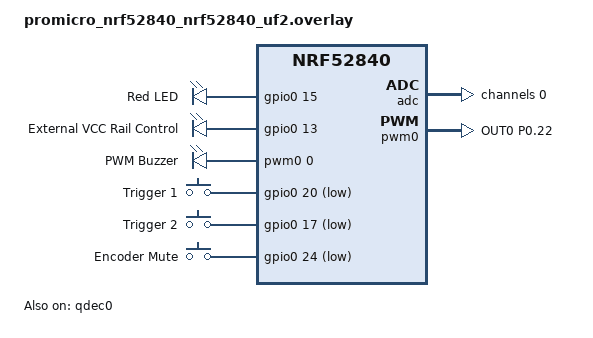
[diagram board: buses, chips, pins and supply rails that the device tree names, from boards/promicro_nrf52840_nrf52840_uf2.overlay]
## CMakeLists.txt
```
# SPDX-License-Identifier: Apache-2.0

cmake_minimum_required(VERSION 3.20.0)
find_package(Zephyr REQUIRED HINTS $ENV{ZEPHYR_BASE})
project(peripheral_hids)

FILE(GLOB app_sources src/*.cpp)
target_sources(app PRIVATE
  ${app_sources}
  )
```

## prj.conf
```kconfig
# Increased stack due to settings API usage
CONFIG_SYSTEM_WORKQUEUE_STACK_SIZE=2048

CONFIG_BT=y
CONFIG_LOG=y

CONFIG_BT_DEVICE_APPEARANCE=961
CONFIG_BT_DEVICE_NAME="Cam Remote Pro"

CONFIG_BT_PERIPHERAL=y
CONFIG_BT_DIS=y
CONFIG_BT_DIS_PNP=y
CONFIG_BT_DIS_PNP_VID_SRC=2
CONFIG_BT_DIS_PNP_VID=0x05AC
CONFIG_BT_DIS_PNP_PID=0x0220
CONFIG_BT_DIS_PNP_VER=0x0100
CONFIG_BT_BAS=y

# Enable SMP for HID security (Just Works pairing)
CONFIG_BT_SMP=y
CONFIG_BT_SETTINGS=y
CONFIG_SETTINGS=y
CONFIG_BT_MAX_PAIRED=5
CONFIG_BT_KEYS_OVERWRITE_OLDEST=y
CONFIG_FLASH=y
CONFIG_FLASH_MAP=y
CONFIG_NVS=y

# BT_SETTINGS requires a flash backend
CONFIG_SETTINGS_NVS=y

CONFIG_GPIO=y
CONFIG_PWM=y
CONFIG_ADC=y


# Modern C++23 Support
CONFIG_CPP=y
CONFIG_STD_CPP23=y
CONFIG_EXTERNAL_LIBCPP=y
CONFIG_CBPRINTF_FP_SUPPORT=y

# Just Works pairing only provides BT_SECURITY_L2 (encryption without MITM).
# Disable authenticated permissions so HID attributes only require encryption.
# Windows requires authenticated (MITM) security for BLE HID devices.
# Uses passkey display for pairing (shown on serial console).
CONFIG_SAMPLE_BT_USE_AUTHENTICATION=y

# Rotary Encoder Support via Hardware QDEC
CONFIG_SENSOR=y

# USB CDC ACM for Debugging (Modern Stack)
CONFIG_USB_DEVICE_STACK=n
CONFIG_USB_DEVICE_STACK_NEXT=y
CONFIG_USBD_CDC_ACM_CLASS=y
CONFIG_SERIAL=y
CONFIG_CONSOLE=y
CONFIG_UART_CONSOLE=y
CONFIG_LOG_BACKEND_UART=y
CONFIG_UART_LINE_CTRL=y
```

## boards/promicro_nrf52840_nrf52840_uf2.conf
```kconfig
# Rotary Encoder Support via Hardware QDEC
CONFIG_SENSOR=y
CONFIG_QDEC_NRFX=y
```

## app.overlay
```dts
/*
 * Global overlay.
 */

&zephyr_udc0 {
	cdc_acm_uart0 {
		compatible = "zephyr,cdc-acm-uart";
	};
};
```

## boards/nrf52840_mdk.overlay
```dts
/*
 * Overlay for nRF52840 MDK USB Dongle
 */

#include <zephyr/dt-bindings/adc/adc.h>
#include <zephyr/dt-bindings/adc/nrf-saadc.h>

/ {
	aliases {
		sw0 = &button0;
		buzzer = &pwm_buzzer0;
		qdec0 = &qdec0;
	};

	pwm_buzzers {
		compatible = "pwm-leds";
		pwm_buzzer0: pwm_buzzer_0 {
			pwms = <&pwm1 0 PWM_HZ(4000) PWM_POLARITY_NORMAL>;
			label = "PWM Buzzer";
		};
	};

	buttons {
		compatible = "gpio-keys";
		button0: button_0 {
			gpios = <&gpio0 5 (GPIO_PULL_UP | GPIO_ACTIVE_LOW)>;
			label = "P5 Trigger";
			zephyr,code = <INPUT_KEY_0>;
		};
		button1: button_1 {
			gpios = <&gpio0 4 (GPIO_PULL_UP | GPIO_ACTIVE_LOW)>;
			label = "P4 Trigger";
			zephyr,code = <INPUT_KEY_1>;
		};
		button2: button_2 {
			gpios = <&gpio0 7 (GPIO_PULL_UP | GPIO_ACTIVE_LOW)>;
			label = "P7 Encoder Mute";
			zephyr,code = <INPUT_KEY_2>;
		};
	};
};

&adc {
	status = "okay";
	#address-cells = <1>;
	#size-cells = <0>;

	channel@0 {
		reg = <0>;
		zephyr,gain = "ADC_GAIN_1_6";
		zephyr,reference = "ADC_REF_INTERNAL";
		zephyr,acquisition-time = <ADC_ACQ_TIME(ADC_ACQ_TIME_MICROSECONDS, 40)>;
		zephyr,input-positive = <NRF_SAADC_VDD>;
		zephyr,resolution = <10>;
	};
};

&qdec0 {
	status = "okay";
	pinctrl-0 = <&qdec_default>;
	pinctrl-1 = <&qdec_sleep>;
	pinctrl-names = "default", "sleep";
	steps = <24>;
	led-pre = <0>;
};

&uart0 {
	pinctrl-0 = <&uart0_default_noflow>;
	pinctrl-1 = <&uart0_sleep_noflow>;
};

&pwm1 {
	status = "okay";
	pinctrl-0 = <&pwm1_default>;
	pinctrl-1 = <&pwm1_sleep>;
	pinctrl-names = "default", "sleep";
};

&pinctrl {
	uart0_default_noflow: uart0_default_noflow {
		group1 {
			psels = <NRF_PSEL(UART_TX, 0, 20)>,
				<NRF_PSEL(UART_RX, 0, 19)>;
		};
	};

	uart0_sleep_noflow: uart0_sleep_noflow {
		group1 {
			psels = <NRF_PSEL(UART_TX, 0, 20)>,
				<NRF_PSEL(UART_RX, 0, 19)>;
			low-power-enable;
		};
	};

	pwm1_default: pwm1_default {
		group1 {
			psels = <NRF_PSEL(PWM_OUT0, 0, 2)>;
			nordic,drive-mode = <NRF_DRIVE_H0H1>;
		};
	};

	pwm1_sleep: pwm1_sleep {
		group1 {
			psels = <NRF_PSEL(PWM_OUT0, 0, 2)>;
			low-power-enable;
		};
	};

	qdec_default: qdec_default {
		group1 {
			psels = <NRF_PSEL(QDEC_A, 0, 3)>,
				<NRF_PSEL(QDEC_B, 0, 6)>;
			bias-pull-up;
		};
	};

	qdec_sleep: qdec_sleep {
		group1 {
			psels = <NRF_PSEL(QDEC_A, 0, 3)>,
				<NRF_PSEL(QDEC_B, 0, 6)>;
			bias-pull-up;
			low-power-enable;
		};
	};
};
```

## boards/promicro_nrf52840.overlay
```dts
/*
 * Overlay for Pro Micro nRF52840
 *
 * Pin Mapping:
 *   - D5 (Trigger P5):  P0.xx
 *   - D4 (Trigger P4):  P0.xx
 *   - D7 (Encoder Mute): P0.xx
 *   - D2, D3 (QDEC A/B): P0.xx / P0.xx
 *   - D6 (Buzzer):      P0.xx
 */

#include <zephyr/dt-bindings/adc/adc.h>
#include <zephyr/dt-bindings/adc/nrf-saadc.h>

/ {
	aliases {
		sw0 = &button0;
		buzzer = &pwm_buzzer0;
		qdec0 = &qdec0;
	};

	pwm_buzzers {
		compatible = "pwm-leds";
		pwm_buzzer0: pwm_buzzer_0 {
			pwms = <&pwm0 0 PWM_HZ(4000) PWM_POLARITY_NORMAL>;
			label = "PWM Buzzer";
		};
	};

	buttons {
		compatible = "gpio-keys";
		button0: button_0 {
			gpios = <&gpio0 20 (GPIO_PULL_UP | GPIO_ACTIVE_LOW)>; /* D5 -> P0.20 */
			label = "Trigger 1";
			zephyr,code = <INPUT_KEY_0>;
		};
		button1: button_1 {
			gpios = <&gpio0 17 (GPIO_PULL_UP | GPIO_ACTIVE_LOW)>; /* D4 -> P0.17 */
			label = "Trigger 2";
			zephyr,code = <INPUT_KEY_1>;
		};
		button2: button_2 {
			gpios = <&gpio0 24 (GPIO_PULL_UP | GPIO_ACTIVE_LOW)>; /* D7 -> P0.24 */
			label = "Encoder Mute";
			zephyr,code = <INPUT_KEY_2>;
		};
	};
};

&adc {
	status = "okay";
	#address-cells = <1>;
	#size-cells = <0>;

	channel@0 {
		reg = <0>;
		zephyr,gain = "ADC_GAIN_1_6";
		zephyr,reference = "ADC_REF_INTERNAL";
		zephyr,acquisition-time = <ADC_ACQ_TIME(ADC_ACQ_TIME_MICROSECONDS, 40)>;
		zephyr,input-positive = <NRF_SAADC_VDD>; /* Default VDD measurement */
		zephyr,resolution = <10>;
	};
};

&qdec0 {
	status = "okay";
	pinctrl-0 = <&qdec_default>;
	pinctrl-1 = <&qdec_sleep>;
	pinctrl-names = "default", "sleep";
	steps = <24>;
	led-pre = <0>;
};

&pwm0 {
	status = "okay";
	pinctrl-0 = <&pwm0_default_buzzer>;
	pinctrl-1 = <&pwm0_sleep_buzzer>;
	pinctrl-names = "default", "sleep";
};

&pinctrl {
	pwm0_default_buzzer: pwm0_default_buzzer {
		group1 {
			psels = <NRF_PSEL(PWM_OUT0, 0, 22)>; /* D6 -> P0.22 */
			nordic,drive-mode = <NRF_DRIVE_H0H1>;
		};
	};

	pwm0_sleep_buzzer: pwm0_sleep_buzzer {
		group1 {
			psels = <NRF_PSEL(PWM_OUT0, 0, 22)>;
			low-power-enable;
		};
	};

	qdec_default: qdec_default {
		group1 {
			psels = <NRF_PSEL(QDEC_A, 0, 10)>,  /* D2 -> P0.10 */
				<NRF_PSEL(QDEC_B, 1, 11)>;  /* D3 -> P1.11 */
			bias-pull-up;
		};
	};

	qdec_sleep: qdec_sleep {
		group1 {
			psels = <NRF_PSEL(QDEC_A, 0, 10)>,
				<NRF_PSEL(QDEC_B, 1, 11)>;
			bias-pull-up;
			low-power-enable;
		};
	};
};
```

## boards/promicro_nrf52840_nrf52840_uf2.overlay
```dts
/*
 * Overlay for Pro Micro nRF52840
 *
 * Pin Mapping:
 *   - D5 (Trigger P5):  P0.xx
 *   - D4 (Trigger P4):  P0.xx
 *   - D7 (Encoder Mute): P0.xx
 *   - D2, D3 (QDEC A/B): P0.xx / P0.xx
 *   - D6 (Buzzer):      P0.xx
 */

#include <zephyr/dt-bindings/adc/adc.h>
#include <zephyr/dt-bindings/adc/nrf-saadc.h>

/ {
	chosen {
		sw0 = &button0;
		buzzer = &pwm_buzzer0;
		qdec0 = &qdec0;
	};

	leds {
		compatible = "gpio-leds";
		led_red: led_0 {
			/* Physical onboard LED on Tenstar/Supermini boards */
			gpios = <&gpio0 15 GPIO_ACTIVE_HIGH>;
			label = "Red LED";
		};
		/* Note: P0.08 and P0.06 are physical RX/TX pins on the board edge */
		/* led_green: led_1 { gpios = <&gpio0 8 GPIO_ACTIVE_LOW>; }; */
		/* led_blue: led_2 { gpios = <&gpio0 6 GPIO_ACTIVE_LOW>; };  */

		vcc_rail: vcc_rail {
			/* Physical P0.13 controls the 3.3V rail for peripherals */
			gpios = <&gpio0 13 GPIO_ACTIVE_HIGH>;
			label = "External VCC Rail Control";
		};
	};

	aliases {
		led0 = &led_red;
		/* led1 = &led_green; */
		/* led2 = &led_blue;  */
		sw0 = &button0;
		sw1 = &button2;
		buzzer = &pwm_buzzer0;
		qdec0 = &qdec0;
		vcc-rail = &vcc_rail;
	};

	pwm_buzzers {
		compatible = "pwm-leds";
		pwm_buzzer0: pwm_buzzer_0 {
			pwms = <&pwm0 0 PWM_HZ(4000) PWM_POLARITY_NORMAL>;
			label = "PWM Buzzer";
		};
	};

	buttons {
		compatible = "gpio-keys";
		button0: button_0 {
			gpios = <&gpio0 20 (GPIO_PULL_UP | GPIO_ACTIVE_LOW)>; /* D5 -> P0.20 */
			label = "Trigger 1";
			zephyr,code = <INPUT_KEY_0>;
		};
		button1: button_1 {
			gpios = <&gpio0 17 (GPIO_PULL_UP | GPIO_ACTIVE_LOW)>; /* D4 -> P0.17 */
			label = "Trigger 2";
			zephyr,code = <INPUT_KEY_1>;
		};
		button2: button_2 {
			gpios = <&gpio0 24 (GPIO_PULL_UP | GPIO_ACTIVE_LOW)>; /* D7 -> P0.24 */
			label = "Encoder Mute";
			zephyr,code = <INPUT_KEY_2>;
		};
	};
};

&adc {
	status = "okay";
	#address-cells = <1>;
	#size-cells = <0>;

	channel@0 {
		reg = <0>;
		zephyr,gain = "ADC_GAIN_1_6";
		zephyr,reference = "ADC_REF_INTERNAL";
		zephyr,acquisition-time = <ADC_ACQ_TIME(ADC_ACQ_TIME_MICROSECONDS, 40)>;
		zephyr,input-positive = <NRF_SAADC_AIN5>; /* Battery Sense (P0.29) */
		zephyr,resolution = <12>;
		zephyr,oversampling = <4>; /* 16x oversampling (2^4) */
	};
};

&qdec0 {
	status = "okay";
	pinctrl-0 = <&qdec_default>;
	pinctrl-1 = <&qdec_sleep>;
	pinctrl-names = "default", "sleep";
	steps = <24>;
	led-pre = <0>;
};

&pwm0 {
	status = "okay";
	pinctrl-0 = <&pwm0_default_buzzer>;
	pinctrl-1 = <&pwm0_sleep_buzzer>;
	pinctrl-names = "default", "sleep";
};

&pinctrl {
	pwm0_default_buzzer: pwm0_default_buzzer {
		group1 {
			psels = <NRF_PSEL(PWM_OUT0, 0, 22)>; /* D6 -> P0.22 */
			nordic,drive-mode = <NRF_DRIVE_H0H1>;
		};
	};

	pwm0_sleep_buzzer: pwm0_sleep_buzzer {
		group1 {
			psels = <NRF_PSEL(PWM_OUT0, 0, 22)>;
			low-power-enable;
		};
	};

	qdec_default: qdec_default {
		group1 {
			psels = <NRF_PSEL(QDEC_A, 0, 10)>,  /* D2 -> P0.10 */
				<NRF_PSEL(QDEC_B, 1, 11)>;  /* D3 -> P1.11 */
			bias-pull-up;
		};
	};

	qdec_sleep: qdec_sleep {
		group1 {
			psels = <NRF_PSEL(QDEC_A, 0, 10)>,
				<NRF_PSEL(QDEC_B, 1, 11)>;
			bias-pull-up;
			low-power-enable;
		};
	};
};
```

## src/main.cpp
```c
#include "hog.hpp"
#include "battery.hpp"
#include "profile_manager.hpp"
// #include "provisioning_service.hpp"  // Disabled: custom vendor service can confuse Windows HID

#include <zephyr/types.h>
#include <zephyr/sys/printk.h>
#include <zephyr/sys/byteorder.h>
#include <zephyr/kernel.h>
#include <zephyr/settings/settings.h>
#include <zephyr/bluetooth/bluetooth.h>
#include <zephyr/bluetooth/hci.h>
#include <zephyr/bluetooth/conn.h>
#include <zephyr/bluetooth/uuid.h>
#include <zephyr/bluetooth/gatt.h>
#include <zephyr/drivers/gpio.h>
#include <zephyr/drivers/pwm.h>

#include <array>
#include <optional>
#include <string_view>
#include <cstring>

namespace remote {

class BuzzerController {
public:
    static void init() {
        if (!device_is_ready(pwm_buzzer.dev)) {
            printk("PWM buzzer device not ready\n");
        }
    }

    static void beep() {
        if (device_is_ready(pwm_buzzer.dev)) {
            printk("BEEP\n");
            uint32_t pulse = pwm_buzzer.period / 2;
            pwm_set_pulse_dt(&pwm_buzzer, pulse);
            k_sleep(K_MSEC(50));
            pwm_set_pulse_dt(&pwm_buzzer, 0);
        }
    }

    static void double_beep() {
        beep();
        k_sleep(K_MSEC(100));
        beep();
    }

    static void long_beep() {
        if (device_is_ready(pwm_buzzer.dev)) {
            uint32_t pulse = pwm_buzzer.period / 2;
            pwm_set_pulse_dt(&pwm_buzzer, pulse);
            k_sleep(K_MSEC(300));
            pwm_set_pulse_dt(&pwm_buzzer, 0);
        }
    }

    static void countdown_beep() {
        for (int i = 0; i < 3; ++i) {
            beep();
            k_sleep(K_MSEC(950));
        }
        long_beep();
    }

private:
    static inline const struct pwm_dt_spec pwm_buzzer = PWM_DT_SPEC_GET(DT_ALIAS(buzzer));
};

class LedController {
public:
    static void init() {
        init_pin(led_red, "Red");
    }

    static void set_connected(bool connected) {}
    static void set_advertising(bool advertising) {}

    static void set_trigger_active(bool active) {
        if (active) {
            printk("LED: 1 (ON)\n");
            if (device_is_ready(led_red.port)) gpio_pin_set_dt(&led_red, 1);
            BuzzerController::beep();
        } else {
            printk("LED: 0 (OFF)\n");
            if (device_is_ready(led_red.port)) gpio_pin_set_dt(&led_red, 0);
        }
    }

private:
    static void init_pin(const struct gpio_dt_spec &spec, const char *name) {
        if (device_is_ready(spec.port)) {
            gpio_pin_configure_dt(&spec, GPIO_OUTPUT_INACTIVE);
            printk("LED %s (pin %u) initialized to OFF\n", name, spec.pin);
        }
    }

    static inline const struct gpio_dt_spec led_red = GPIO_DT_SPEC_GET_OR(DT_ALIAS(led0), gpios, {0});
};

class PowerController {
public:
    static void init() {
        if (device_is_ready(vcc_rail.port)) {
            gpio_pin_configure_dt(&vcc_rail, GPIO_OUTPUT_ACTIVE);
            printk("VCC Rail (P0.13) enabled\n");
        } else {
            printk("VCC Rail device not ready\n");
        }
    }

private:
    static inline const struct gpio_dt_spec vcc_rail = GPIO_DT_SPEC_GET_OR(DT_ALIAS(vcc_rail), gpios, {0});
};

} // namespace remote



extern "C" void led_set_trigger_active(bool active) {
    remote::LedController::set_trigger_active(active);
}



extern "C" void buzzer_beep() {
    remote::BuzzerController::beep();
}

extern "C" void buzzer_double_beep() {
    remote::BuzzerController::double_beep();
}

extern "C" void buzzer_long_beep() {
    remote::BuzzerController::long_beep();
}

extern "C" void buzzer_countdown_beep() {
    remote::BuzzerController::countdown_beep();
}

// Connection tracking bridge (defined in hog.cpp)
extern "C" void hid_set_conn(struct bt_conn *conn);
extern "C" void hid_clear_conn();
extern "C" void hid_disconnect();

namespace remote {

// ─── NVS-backed StorageHal for ProfileManager ──────────────────
struct NvsStorageHal {
    static bool store(std::string_view key, uint8_t value) {
        char key_str[64];
        std::snprintf(key_str, sizeof(key_str), "remote/%.*s", static_cast<int>(key.size()), key.data());
        int err = settings_save_one(key_str, &value, sizeof(value));
        if (err) {
            printk("NVS: save %s failed (%d)\n", key_str, err);
            return false;
        }
        return true;
    }

    static std::optional<uint8_t> load(std::string_view key) {
        char key_str[64];
        std::snprintf(key_str, sizeof(key_str), "remote/%.*s", static_cast<int>(key.size()), key.data());
        return std::nullopt; // Handled by settings handler
    }

    static bool store_addr(std::string_view key, const uint8_t* addr) {
        char key_str[64];
        std::snprintf(key_str, sizeof(key_str), "remote/%.*s", static_cast<int>(key.size()), key.data());
        int err = settings_save_one(key_str, addr, 7);
        return err == 0;
    }

    static std::optional<std::array<uint8_t, 7>> load_addr(std::string_view key) {
        return std::nullopt; // Will be handled by settings_load() and a handler
    }
};

static ProfileManager<NvsStorageHal, 3> profile_mgr;

// ─── Settings Handler ───────────────────────────────────────────
static int remote_settings_set(const char *name, size_t len, settings_read_cb read_cb, void *cb_arg) {
    const char *next;
    if (settings_name_steq(name, "profile/slot", &next) && !next) {
        uint8_t val;
        if (read_cb(cb_arg, &val, sizeof(val)) > 0) {
            profile_mgr.set_slot_no_store(val);
            return 0;
        }
    }
    
    // Handle profile/slotN/addr
    for (uint8_t i = 0; i < 3; ++i) {
        char buf[32];
        std::snprintf(buf, sizeof(buf), "profile/slot%u/addr", i);
        if (settings_name_steq(name, buf, &next) && !next) {
            uint8_t addr[7];
            if (read_cb(cb_arg, addr, sizeof(addr)) > 0) {
                profile_mgr.set_slot_addr(i, addr);
                return 0;
            }
        }
    }
    return -ENOENT;
}

static struct settings_handler remote_conf = {
    .name = "remote",
    .h_set = remote_settings_set
};

// ─── Profile switch callback (forward declaration for hog.cpp) 
extern "C" void on_profile_switch_request();

// ─── Advertising state tracking ─────────────────────────────────
static volatile bool is_connected = false;
static volatile bool is_advertising = false;
static int adv_tick_count = 0;       // Count watchdog ticks to toggle modes
static bool use_directed_adv = true; // Toggle between directed and undirected
static int8_t last_adv_id = -1;      // Track which identity was last used for advertising
static bool last_adv_mode_directed = false;

// ─── Advertising data (shared between start and watchdog) ───────
static constexpr uint8_t ad_flags[] = { BT_LE_AD_GENERAL | BT_LE_AD_NO_BREDR };
static constexpr uint8_t ad_uuid[] = {
    BT_UUID_16_ENCODE(BT_UUID_HIDS_VAL),
    BT_UUID_16_ENCODE(BT_UUID_BAS_VAL)
};
static constexpr std::string_view dev_name = CONFIG_BT_DEVICE_NAME;

static const std::array<struct bt_data, 3> ad = {{
    { .type = BT_DATA_FLAGS, .data_len = sizeof(ad_flags), .data = ad_flags },
    { .type = BT_DATA_UUID16_ALL, .data_len = sizeof(ad_uuid), .data = ad_uuid },
    { .type = BT_DATA_NAME_COMPLETE, .data_len = static_cast<uint8_t>(dev_name.size()), .data = reinterpret_cast<const uint8_t*>(dev_name.data()) },
}};

static constexpr uint8_t sd_uuid[] = {
    0xf0, 0xde, 0xbc, 0x9a, 0x78, 0x56, 0x34, 0x12,
    0x78, 0x56, 0x34, 0x12, 0x78, 0x56, 0x34, 0x12
};

static const std::array<struct bt_data, 1> sd = {{
    { .type = BT_DATA_UUID128_ALL, .data_len = sizeof(sd_uuid), .data = sd_uuid },
}};

// ─── Advertising watchdog (forward declaration) ─────────────────
static void adv_watchdog_handler(struct k_work *work);
static struct k_work_delayable adv_watchdog_work;
constexpr int kAdvWatchdogIntervalSec = 5;

class BluetoothManager {
public:
    static int start() {
        k_work_init_delayable(&adv_watchdog_work, adv_watchdog_handler);

        int err = settings_subsys_init();
        if (err) {
            printk("Settings init failed (err %d)\n", err);
        }
        settings_register(&remote_conf);

        err = bt_enable(bt_ready_callback);
        if (err) {
            printk("Bluetooth init failed (err %d)\n", err);
            return err;
        }

        // Register auth callbacks to provide Passkey display (Windows demands MITM)
        bt_conn_auth_cb_register(&auth_cb);
        return 0;
    }

    static int try_advertising(bool force_undirected = false) {
        auto addr_opt = profile_mgr.active_addr();
        
        if (addr_opt && !force_undirected) {
            bt_addr_le_t target;
            std::memcpy(&target, addr_opt->data(), 7);
            
            char addr_str[BT_ADDR_LE_STR_LEN];
            bt_addr_le_to_str(&target, addr_str, sizeof(addr_str));
            // Only print once per mode change to avoid log spam
            if (adv_tick_count == 0 || !use_directed_adv) {
                printk("ADV: Directed advertising to %s\n", addr_str);
            }
            
            struct bt_le_adv_param param = {
                .id = profile_mgr.active_slot(),
                .sid = 0,
                .secondary_max_skip = 0,
                .options = BT_LE_ADV_OPT_CONN | BT_LE_ADV_OPT_DIR_MODE_LOW_DUTY | BT_LE_ADV_OPT_DIR_ADDR_RPA,
                .interval_min = BT_GAP_ADV_FAST_INT_MIN_1,
                .interval_max = BT_GAP_ADV_FAST_INT_MAX_1,
                .peer = &target,
            };
            
            return bt_le_adv_start(&param, nullptr, 0, nullptr, 0);
        } else {
            if (adv_tick_count == 0 || use_directed_adv) {
                printk("ADV: Undirected advertising (slot %u)\n", profile_mgr.active_slot());
            }
            struct bt_le_adv_param param = *BT_LE_ADV_CONN_FAST_1;
            param.id = profile_mgr.active_slot();
            return bt_le_adv_start(&param,
                                   ad.data(), ad.size(),
                                   sd.data(), sd.size());
        }
    }

    static void start_advertising() {
        // Stop any existing advertising first
        bt_le_adv_stop();

        // Retry advertising up to 3 times with fast intervals
        for (int attempt = 0; attempt < 3; ++attempt) {
            int err = try_advertising();
            if (!err) {
                printk("Advertising started (attempt %d)\n", attempt + 1);
                is_advertising = true;
                LedController::set_advertising(true);
                return;
            }
            printk("Advertising failed (err %d), retry %d\n", err, attempt + 1);
            k_msleep(500);
            bt_le_adv_stop();
        }
        printk("Advertising FAILED after 3 attempts!\n");
        is_advertising = false;
        LedController::set_advertising(false);
    }

private:
    static void bt_ready_callback(int err) {
        if (err) {
            printk("Bluetooth ready failed (err %d)\n", err);
            return;
        }

        printk("Bluetooth initialized\n");
        HidService::init();

        if (IS_ENABLED(CONFIG_SETTINGS)) {
            settings_load();
            printk("Settings loaded\n");
        }

        size_t id_count = 0;
        bt_id_get(nullptr, &id_count);
        while (id_count < 3) {
            int new_id = bt_id_create(nullptr, nullptr);
            if (new_id < 0) {
                printk("Failed to create BT ID (err %d)\n", new_id);
                break;
            }
            id_count++;
        }

        profile_mgr.init();
        printk("Profile manager init (slot %u)\n", profile_mgr.active_slot());

        start_advertising();

        // Start the advertising watchdog
        k_work_reschedule(&adv_watchdog_work, K_SECONDS(kAdvWatchdogIntervalSec));
        printk("Advertising watchdog started (every %ds)\n", kAdvWatchdogIntervalSec);
    }

    static void connected(struct bt_conn *conn, uint8_t err) {
        char addr[BT_ADDR_LE_STR_LEN];
        bt_addr_le_to_str(bt_conn_get_dst(conn), addr, sizeof(addr));

        if (err) {
            printk("Connection failed: %s (0x%02x)\n", addr, err);
            is_connected = false;
            // The watchdog will restart advertising safely
            k_work_reschedule(&adv_watchdog_work, K_MSEC(250));
            return;
        }

        printk("Connected: %s\n", addr);
        is_connected = true;
        is_advertising = false;
        hid_set_conn(conn);
        LedController::set_connected(true);
        LedController::set_advertising(false);

        if (int sec_err = bt_conn_set_security(conn, BT_SECURITY_L2); sec_err < 0) {
            printk("Failed to set security (err %d)\n", sec_err);
        }
    }

    static void disconnected(struct bt_conn *conn, uint8_t reason) {
        char addr[BT_ADDR_LE_STR_LEN];
        bt_addr_le_to_str(bt_conn_get_dst(conn), addr, sizeof(addr));

        printk("Disconnected: %s (reason 0x%02x)\n", addr, reason);
        is_connected = false;
        hid_clear_conn();
        LedController::set_connected(false);
        // Do not call start_advertising() directly here to avoid err -12 (ENOMEM)
        // arising from executing HCI commands inside the disconnect callback context.
        // Instead, schedule the watchdog to run after a tiny delay to allow internal cleanup.
        k_work_reschedule(&adv_watchdog_work, K_MSEC(250));
    }

    static void security_changed(struct bt_conn *conn, bt_security_t level, enum bt_security_err err) {
        char addr[BT_ADDR_LE_STR_LEN];
        bt_addr_le_to_str(bt_conn_get_dst(conn), addr, sizeof(addr));

        if (!err) {
            printk("Security changed: %s level %u\n", addr, level);
        } else {
            printk("Security failed: %s level %u err %d\n", addr, level, static_cast<int>(err));
        }
    }

    static void pairing_complete(struct bt_conn *conn, bool bonded) {
        if (bonded) {
            struct bt_conn_info info;
            bt_conn_get_info(conn, &info);
            const bt_addr_le_t *addr = info.le.dst;
            profile_mgr.update_active_addr(reinterpret_cast<const uint8_t*>(addr));
            printk("REL: Bond established, identity address saved to slot %u\n", profile_mgr.active_slot());
        }
    }

    static inline bt_conn_cb conn_callbacks = {
        .connected = connected,
        .disconnected = disconnected,
        .security_changed = security_changed,
    };

    static inline bt_conn_auth_info_cb auth_info_callbacks = {
        .pairing_complete = pairing_complete,
    };

    static inline bt_conn_auth_cb auth_cb = {
        .passkey_display = [](struct bt_conn *conn, unsigned int passkey) {
            char addr[BT_ADDR_LE_STR_LEN];
            bt_addr_le_to_str(bt_conn_get_dst(conn), addr, sizeof(addr));
            printk("Passkey for %s: %06u\n", addr, passkey);
        },
        .cancel = [](struct bt_conn *conn) {
            char addr[BT_ADDR_LE_STR_LEN];
            bt_addr_le_to_str(bt_conn_get_dst(conn), addr, sizeof(addr));
            printk("Pairing cancelled: %s\n", addr);
        },
    };

    // Registration helper
    struct ConnCbReg {
        ConnCbReg() { 
            bt_conn_cb_register(&conn_callbacks);
            bt_conn_auth_info_cb_register(&auth_info_callbacks);
        }
    };
    static inline ConnCbReg cb_reg;
};

// ─── Implementation of handlers ─────────────────────────────────

static void adv_watchdog_handler(struct k_work *work)
{
    // If connected, no need to advertise — just reschedule
    if (is_connected) {
        adv_tick_count = 0;
        k_work_reschedule(&adv_watchdog_work, K_SECONDS(kAdvWatchdogIntervalSec));
        return;
    }

    uint8_t current_id = profile_mgr.active_slot();
    bool should_be_directed = use_directed_adv;

    // Toggle logic: if we have a bond, swap between directed and undirected every 20 seconds (4 ticks)
    adv_tick_count++;
    if (adv_tick_count > 4) {
        adv_tick_count = 0;
        use_directed_adv = !use_directed_adv;
        should_be_directed = use_directed_adv;
        printk("ADV watchdog: Toggle mode to %s\n", should_be_directed ? "directed" : "undirected");
        bt_le_adv_stop(); // Force restart in new mode
    }

    // IDENTITY SWITCH DETECTION: If the profile changed while we were advertising, 
    // we MUST stop and restart to apply the new identity/bonds.
    if (is_advertising && (current_id != last_adv_id || should_be_directed != last_adv_mode_directed)) {
        printk("ADV watchdog: Profile/Mode changed (%d -> %d), restarting adv\n", last_adv_id, current_id);
        bt_le_adv_stop();
        is_advertising = false;
    }

    // Try to start advertising (will return -EALREADY if already running)
    int err = BluetoothManager::try_advertising(!should_be_directed);

    if (err == 0 || err == -EALREADY) {
        // Double-check we didn't connect asynchronously while try_advertising was blocking
        if (!is_connected) {
            is_advertising = true;
            last_adv_id = current_id;
            last_adv_mode_directed = should_be_directed;
            LedController::set_advertising(true);
        }
    } else {
        printk("ADV watchdog: adv start err %d (slot %u)\n", err, current_id);
        is_advertising = false;
        LedController::set_advertising(false);
        bt_le_adv_stop();
    }

    k_work_reschedule(&adv_watchdog_work, K_SECONDS(kAdvWatchdogIntervalSec));
}

extern "C" void clear_bonds() {
    printk("REL: Clearing bonds for active slot %u\n", profile_mgr.active_slot());
    
    // Clear pairing info from BLE stack only for the active slot
    bt_unpair(profile_mgr.active_slot(), NULL);
    
    // Reset our profile manager
    profile_mgr.clear_active();
    
    // Visual/Audio feedback
    BuzzerController::countdown_beep();
    
    // Force disconnect and restart advertising
    bt_le_adv_stop();
    is_advertising = false;
    hid_disconnect();
    adv_tick_count = 0;
    use_directed_adv = false; // Start with undirected to be seen
    
    // Trigger watchdog immediately
    k_work_reschedule(&adv_watchdog_work, K_MSEC(100));
}

extern "C" void on_profile_switch_request() {
    auto new_slot = profile_mgr.cycle();
    printk("PROFILE: switched to slot %u\n", new_slot);

    // Buzzer feedback: beep N+1 times for slot N
    for (uint8_t i = 0; i <= new_slot; ++i) {
        BuzzerController::beep();
        if (i < new_slot) k_msleep(150);
    }

    // Explicitly stop advertising to ensure the identity change is applied
    bt_le_adv_stop();
    is_advertising = false;

    // Disconnect current connection so we can re-advertise to the new slot's peer
    hid_disconnect();
    
    // Reset watchdog ticks so we start fresh with the new profile
    adv_tick_count = 0;
    use_directed_adv = true; 

    // Trigger watchdog immediately if not connected, otherwise wait for disconnect callback
    if (!is_connected) {
        k_work_reschedule(&adv_watchdog_work, K_MSEC(100));
    }
}

} // namespace remote

int main() {
    printk("Starting Camera Remote (Modern C++)...\n");

    remote::LedController::init();
    remote::PowerController::init();
    remote::BuzzerController::init();
    remote::BluetoothManager::start();
    remote::BatteryMonitor::init();
    remote::BatteryMonitor::start_periodic();

    remote::HidService::run_button_loop();

    return 0;
}
```

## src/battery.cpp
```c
/** @file
 *  @brief Battery Monitor Implementation
 *
 *  Uses the nRF52840's internal SAADC to measure VDD,
 *  then maps the voltage to a percentage and updates the
 *  BLE Battery Service (BAS).
 */

#include "battery.hpp"
#include "battery_conversion.hpp"

#include <zephyr/kernel.h>
#include <zephyr/sys/printk.h>
#include <zephyr/drivers/adc.h>
#include <zephyr/bluetooth/services/bas.h>

#include <cstdint>
#include <atomic>

namespace remote {

// ─── ADC Configuration ──────────────────────────────────────────

static const struct device *adc_dev = DEVICE_DT_GET(DT_NODELABEL(adc));
static int16_t adc_buf;
static int16_t sample_history[32] = {0};
static int history_idx = 0;
static bool history_filled = false;

static struct adc_channel_cfg channel_cfg = ADC_CHANNEL_CFG_DT(DT_CHILD(DT_NODELABEL(adc), channel_0));

static struct adc_sequence sequence = {
    .channels = BIT(0),
    .buffer = &adc_buf,
    .buffer_size = sizeof(adc_buf),
    .resolution = kAdcResolution,
};

// ─── Periodic update timer ──────────────────────────────────────

static constexpr int kUpdateIntervalSec = 60;
static struct k_work_delayable battery_work;
static std::atomic<bool> is_initialized{false};

static uint8_t do_read_level()
{
    if (!is_initialized || !device_is_ready(adc_dev)) return 0;

    int err = adc_read(adc_dev, &sequence);
    if (err) {
        printk("ADC read failed (err %d)\n", err);
        return 0;
    }

    // [FILTER] 32-point Moving Average
    sample_history[history_idx] = adc_buf;
    history_idx = (history_idx + 1) % 32;
    if (history_idx == 0) history_filled = true;

    int32_t sum = 0;
    int count = history_filled ? 32 : history_idx;
    if (count == 0) count = 1;
    for (int i = 0; i < count; ++i) {
        sum += sample_history[i];
    }
    int16_t avg_raw = static_cast<int16_t>(sum / count);

    uint16_t mv = raw_to_millivolts(avg_raw);
    uint8_t percent = millivolts_to_percent(mv);

    printk("BAT: raw=%d, avg=%d, mV=%u, %%=%u\n", adc_buf, avg_raw, mv, percent);
    return percent;
}

static void battery_work_handler(struct k_work *work)
{
    printk("Woke up (Battery)!\n");
    uint8_t level = do_read_level();
    bt_bas_set_battery_level(level);
    printk("BAT: %u%%\n", level);

    k_work_reschedule(&battery_work, K_SECONDS(kUpdateIntervalSec));
    printk("Zzz... Sleeping (Battery)\n");
}

// ─── BatteryMonitor methods ─────────────────────────────────────

void BatteryMonitor::init()
{
    if (!device_is_ready(adc_dev)) {
        printk("ADC device not ready\n");
        return;
    }

    int err = adc_channel_setup(adc_dev, &channel_cfg);
    if (err) {
        printk("ADC channel setup failed (err %d)\n", err);
        return;
    }

    k_work_init_delayable(&battery_work, battery_work_handler);
    is_initialized = true;
    printk("Battery monitor initialized\n");
}

uint8_t BatteryMonitor::read_level()
{
    return do_read_level();
}

void BatteryMonitor::start_periodic()
{
    if (!is_initialized) {
        printk("BatteryMonitor not initialized, skipping periodic\n");
        return;
    }

    uint8_t level = do_read_level();
    bt_bas_set_battery_level(level);

    k_work_reschedule(&battery_work, K_SECONDS(kUpdateIntervalSec));
}

} // namespace remote
```

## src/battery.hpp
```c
/** @file
 *  @brief Battery Monitor class
 */

#pragma once

#include <cstdint>

namespace remote {

class BatteryMonitor {
public:
    /// Initialize the SAADC for VDD measurement
    static void init();

    /// Read current battery level (0-100%)
    static uint8_t read_level();

    /// Start periodic battery level updates (every 60 seconds)
    static void start_periodic();
};

} // namespace remote
```

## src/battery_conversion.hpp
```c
#pragma once

/**
 * @file battery_conversion.hpp
 * @brief Pure conversion functions for battery voltage mapping.
 *
 * Extracted from battery.cpp so they can be unit-tested on the host
 * without any Zephyr or hardware dependencies.
 */

#include <cstdint>

namespace remote {

/// ADC resolution (12-bit with 16x hardware oversampling)
inline constexpr uint16_t kAdcResolution = 12;

/// Convert a raw ADC sample to millivolts.
/// Uses 12-bit resolution (0-4095) with 16x hardware oversampling.
/// ADC config: GAIN=1/6, REF=0.6V internal → full-scale = 3.6V.
/// With voltage divider on AIN5 (P0.29):
///   mV = raw * 3600 / 4096 * divider_ratio
/// Calibrated so that raw≈312 (12-bit) → 4210mV.
constexpr uint16_t raw_to_millivolts(int16_t raw) noexcept {
    if (raw < 0) raw = 0;
    return static_cast<uint16_t>(
        (static_cast<uint32_t>(raw) * 55000) / (1 << kAdcResolution)
    );
}

/// Map millivolts to a 0–100 % battery level (linear between 3.0V–4.2V).
constexpr uint8_t millivolts_to_percent(uint16_t mv) noexcept {
    constexpr uint16_t kMinMv = 3000;
    constexpr uint16_t kMaxMv = 4200;

    if (mv <= kMinMv) return 0;
    if (mv >= kMaxMv) return 100;

    return static_cast<uint8_t>(
        (static_cast<uint32_t>(mv - kMinMv) * 100) / (kMaxMv - kMinMv)
    );
}

} // namespace remote
```

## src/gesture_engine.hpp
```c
#pragma once

#include "hog.hpp" // For HidKey
#include <cstdint>
#include <cstdlib>
#include <zephyr/sys/printk.h>

namespace remote {

/**
 * Hal concept requirements:
 * struct Hal {
 *     static uint64_t get_time_ms();
 *     static void sleep_ms(int ms);
 *     static bool is_button_held();
 *     static bool is_encoder_button_held();
 *     static void send_hid_report(uint8_t key_bits);
 *     static void buzzer_beep();
 *     static void buzzer_long_beep();
 *     static void led_set_trigger_active(bool active);
 *     static void on_profile_switch();        // called on encoder long-press
 *     static void clear_bonds();              // called on main button 5s hold
 * };
 */
template <typename Hal>
class GestureEngine {
public:
    static constexpr int kPollMs = 20;
    static constexpr int kDebounceMs = 60;
    static constexpr int kLongPressMs = 800;
    static constexpr int kBurstHoldMs = 2000;

    // Called when the main button semaphore is triggered
    static void on_main_button_wake() {
        bool now = Hal::is_button_held();

        if (now) {
            // Rising edge — debounce
            Hal::sleep_ms(kDebounceMs);
            if (!Hal::is_button_held()) return;

            // Start timing
            uint64_t t0 = Hal::get_time_ms();
            bool burst = false;
            bool reset_req = false;

            // Monitor hold duration
            while (Hal::is_button_held()) {
                Hal::sleep_ms(kPollMs);
                uint64_t duration = Hal::get_time_ms() - t0;
                
                if (duration >= 5000) { // 5 seconds reset
                    reset_req = true;
                    break;
                }
                if (duration >= kLongPressMs) { 
                    burst = true; 
                    // Continue polling to check for 5s reset
                }
            }

            if (reset_req) {
                Hal::clear_bonds();
                return;
            }

            if (burst) {
                Hal::buzzer_long_beep();
                Hal::led_set_trigger_active(true);
                Hal::send_hid_report(static_cast<uint8_t>(HidKey::VolumeUp));
                Hal::sleep_ms(kBurstHoldMs);
                Hal::send_hid_report(0x00);
                Hal::led_set_trigger_active(false);
                while (Hal::is_button_held()) {
                    Hal::sleep_ms(kPollMs);
                }
                return;
            }

            // If we got here, it was a single click
            Hal::led_set_trigger_active(true);
            Hal::buzzer_beep();
            Hal::send_hid_report(static_cast<uint8_t>(HidKey::VolumeUp));
            Hal::sleep_ms(100);
            Hal::send_hid_report(0x00);
            Hal::led_set_trigger_active(false);

            Hal::sleep_ms(kDebounceMs);
        }
    }

    // Called from encoder polling timer when rotation is detected
    // Note: For this hardware combo, each physical detent generates 60 degrees.
    static void on_encoder_rotate(int steps) {
        static int accumulated_degrees = 0;
        accumulated_degrees += steps;

        if (abs(accumulated_degrees) >= 60) {
            int sign = (accumulated_degrees > 0) ? 1 : -1;
            accumulated_degrees %= 60;
            
            if (sign > 0) {
                // Hardware positive = Counter-Clockwise (Volume Down)
                Hal::send_hid_report(static_cast<uint8_t>(HidKey::VolumeDown));
                Hal::sleep_ms(30);
                Hal::send_hid_report(0x00);
            } else {
                // Hardware negative = Clockwise (Volume Up)
                Hal::send_hid_report(static_cast<uint8_t>(HidKey::VolumeUp));
                Hal::sleep_ms(30);
                Hal::send_hid_report(0x00);
            }
        }
    }

    // Called from encoder button interrupt — detect short vs long press
    static void on_encoder_button_press() {
        // Debounce
        Hal::sleep_ms(kDebounceMs);
        if (!Hal::is_encoder_button_held()) return;

        // Poll for long press
        uint64_t t0 = Hal::get_time_ms();
        while (Hal::is_encoder_button_held()) {
            Hal::sleep_ms(kPollMs);
            if ((Hal::get_time_ms() - t0) >= kLongPressMs) {
                // Long press → profile switch
                Hal::on_profile_switch();
                // Wait for release
                while (Hal::is_encoder_button_held()) {
                    Hal::sleep_ms(kPollMs);
                }
                return;
            }
        }

        // Short press → mute toggle
        printk("Encoder Btn: Mute Toggle\n");
        Hal::send_hid_report(static_cast<uint8_t>(HidKey::Mute));
        Hal::sleep_ms(50);
        Hal::send_hid_report(0x00);
    }
};

} // namespace remote
```

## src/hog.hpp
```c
/** @file
 *  @brief HoG Service class (Modern C++20)
 */

#pragma once

#include <cstdint>

namespace remote {

/// Consumer Control key bit positions in the HID report
enum class HidKey : uint8_t {
    VolumeUp   = 0x01,  // Bit 0: Volume Increment (Camera Shutter)
    VolumeDown = 0x02,  // Bit 1: Volume Decrement
    Mute       = 0x04,  // Bit 2: Mute
    PlayPause  = 0x08,  // Bit 3: Play/Pause (Video Start/Stop)
    NextTrack  = 0x10,  // Bit 4: Scan Next Track
    PrevTrack  = 0x20,  // Bit 5: Scan Previous Track
};

class HidService {
public:
    static void init();
    static void run_button_loop();

    /// Send a single key press + release
    static void send_key(HidKey key);

    /// Send a key press (hold down)
    static void send_key_down(HidKey key);

    /// Send a key release
    static void send_key_up();
};

} // namespace remote
```

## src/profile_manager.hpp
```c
/** @file
 *  @brief Profile Manager — switch HID target between bonded devices (C++23)
 *
 *  Template-based, hardware-decoupled profile slot manager.
 *  Persists the active slot index via a StorageHal abstraction.
 *
 *  StorageHal concept:
 *    struct StorageHal {
 *        static bool store(std::string_view key, uint8_t value);
 *        static std::optional<uint8_t> load(std::string_view key);
 *        static bool store_addr(std::string_view key, const uint8_t* addr);
 *        static std::optional<std::array<uint8_t, 7>> load_addr(std::string_view key);
 *    };
 */

#pragma once

#include <cstdint>
#include <optional>
#include <string_view>
#include <array>
#include <cstdio>
#include <cstring>

namespace remote {

/// Compile-time profile slot manager.
/// @tparam StorageHal  NVS back-end (swappable for testing)
/// @tparam N           Number of profile slots (default 3)
template <typename StorageHal, uint8_t N = 3>
class ProfileManager {
public:
    static_assert(N >= 2, "Need at least 2 profile slots");

    static constexpr uint8_t kNumSlots = N;
    static constexpr std::string_view kStorageKey = "profile/slot";

    /// Initialise from NVS.  Falls back to slot 0 on first boot.
    void init() {
        auto saved = StorageHal::load(kStorageKey);
        active_ = (saved.has_value() && *saved < N) ? *saved : 0;

        for (uint8_t i = 0; i < N; ++i) {
            char key[32];
            std::snprintf(key, sizeof(key), "profile/slot%u/addr", i);
            auto addr = StorageHal::load_addr(key);
            if (addr) {
                slot_addrs_[i] = *addr;
                has_bond_[i] = true;
            } else {
                has_bond_[i] = false;
            }
        }
    }

    /// Advance to the next slot (wraps around).
    uint8_t cycle() {
        active_ = (active_ + 1) % N;
        StorageHal::store(kStorageKey, active_);
        return active_;
    }

    /// @return current active slot (0-based).
    [[nodiscard]] constexpr uint8_t active_slot() const { return active_; }

    /// Directly select a slot (clamped to valid range).
    void set_slot(uint8_t slot) {
        active_ = (slot < N) ? slot : 0;
        StorageHal::store(kStorageKey, active_);
    }

    /// Set slot without storing (used by settings load)
    void set_slot_no_store(uint8_t slot) {
        active_ = (slot < N) ? slot : 0;
    }

    /// Directly set address for a slot (used by settings load)
    void set_slot_addr(uint8_t slot, const uint8_t* addr_bytes) {
        if (slot >= N || !addr_bytes) return;
        for (int i = 0; i < 7; ++i) slot_addrs_[slot][i] = addr_bytes[i];
        has_bond_[slot] = true;
    }

    /// Update the address for the currently active slot.
    void update_active_addr(const uint8_t* addr_bytes) {
        if (!addr_bytes) return;

        std::array<uint8_t, 7> new_addr;
        for (int i = 0; i < 7; ++i) new_addr[i] = addr_bytes[i];

        slot_addrs_[active_] = new_addr;
        has_bond_[active_] = true;

        char key[32];
        std::snprintf(key, sizeof(key), "profile/slot%u/addr", active_);
        StorageHal::store_addr(key, addr_bytes);
    }

    /// Clear bonding information for the active slot.
    void clear_active() {
        has_bond_[active_] = false;
        std::memset(slot_addrs_[active_].data(), 0, 7);
        
        char key[32];
        std::snprintf(key, sizeof(key), "profile/slot%u/addr", active_);
        // Provide null/empty addr to HAL for deletion if supported, 
        // or just rely on has_bond flag for logic.
        // We'll store a zeroed address.
        StorageHal::store_addr(key, slot_addrs_[active_].data());
    }

    /// @return the stored address for a slot, if it has a bond.
    [[nodiscard]] std::optional<std::array<uint8_t, 7>> get_addr(uint8_t slot) const {
        if (slot < N && has_bond_[slot]) {
            return slot_addrs_[slot];
        }
        return std::nullopt;
    }

    /// @return the stored address for the current active slot.
    [[nodiscard]] std::optional<std::array<uint8_t, 7>> active_addr() const {
        return get_addr(active_);
    }

private:
    uint8_t active_{0};
    std::array<std::array<uint8_t, 7>, N> slot_addrs_{};
    std::array<bool, N> has_bond_{};
};

} // namespace remote
```

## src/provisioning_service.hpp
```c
/** @file
 *  @brief Provisioning Service — GATT skeleton for button-function programming
 *
 *  Registers a custom BLE GATT service with a vendor-specific 128-bit UUID.
 *  This is a stub: it accepts writes to a configuration characteristic but
 *  does not act on them yet.  A future companion app will use this service
 *  to program what each button/gesture does per profile.
 */

#pragma once

#include <zephyr/bluetooth/bluetooth.h>
#include <zephyr/bluetooth/gatt.h>
#include <zephyr/bluetooth/uuid.h>
#include <zephyr/sys/printk.h>

#include <array>
#include <cstdint>

namespace remote {

namespace provisioning {

// ─── Vendor-specific 128-bit UUIDs ──────────────────────────────
// Service:        12345678-1234-5678-1234-56789abcde00
// Characteristic: 12345678-1234-5678-1234-56789abcde01

// clang-format off
#define PROV_SVC_UUID BT_UUID_DECLARE_128( \
    BT_UUID_128_ENCODE(0x12345678, 0x1234, 0x5678, 0x1234, 0x56789abcde00))

#define PROV_CHAR_BUTTON_MAP_UUID BT_UUID_DECLARE_128( \
    BT_UUID_128_ENCODE(0x12345678, 0x1234, 0x5678, 0x1234, 0x56789abcde01))
// clang-format on

// ─── Placeholder button-map buffer ──────────────────────────────
// Each byte could map a button index → action.  Layout TBD.
inline constexpr uint8_t kMaxButtonMapLen = 8;
inline std::array<uint8_t, kMaxButtonMapLen> button_map{};

// ─── GATT Callbacks (stubs) ─────────────────────────────────────

inline ssize_t read_button_map(struct bt_conn *conn,
                               const struct bt_gatt_attr *attr,
                               void *buf, uint16_t len, uint16_t offset)
{
    return bt_gatt_attr_read(conn, attr, buf, len, offset,
                             button_map.data(), button_map.size());
}

inline ssize_t write_button_map(struct bt_conn *conn,
                                const struct bt_gatt_attr *attr,
                                const void *buf, uint16_t len,
                                uint16_t offset, uint8_t flags)
{
    if (offset + len > kMaxButtonMapLen) {
        return BT_GATT_ERR(BT_ATT_ERR_INVALID_OFFSET);
    }
    memcpy(button_map.data() + offset, buf, len);
    printk("PROV: button-map written (offset=%u len=%u) — stub, no action\n",
           offset, len);
    return len;
}

} // namespace provisioning

// ─── GATT Service Registration ──────────────────────────────────
// This macro registers the service at boot; no explicit init() needed.

BT_GATT_SERVICE_DEFINE(provisioning_svc,
    BT_GATT_PRIMARY_SERVICE(PROV_SVC_UUID),
    BT_GATT_CHARACTERISTIC(PROV_CHAR_BUTTON_MAP_UUID,
                           BT_GATT_CHRC_READ | BT_GATT_CHRC_WRITE,
                           BT_GATT_PERM_READ_ENCRYPT | BT_GATT_PERM_WRITE_ENCRYPT,
                           provisioning::read_button_map,
                           provisioning::write_button_map,
                           nullptr),
);

} // namespace remote
```
